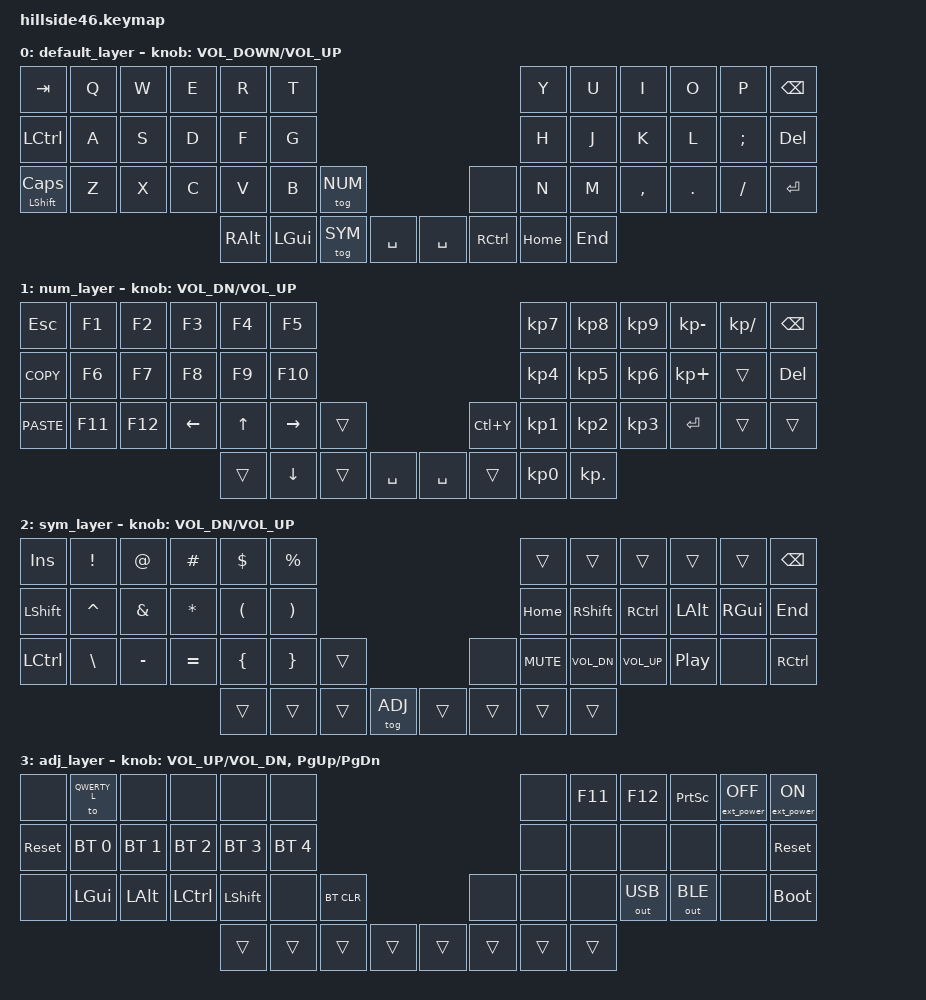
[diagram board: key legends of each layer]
/*
 * Copyright (c) 2021-2022 The ZMK Contributors
 *
 * SPDX-License-Identifier: MIT
 */

#include <behaviors.dtsi>
#include <dt-bindings/zmk/bt.h>
#include <dt-bindings/zmk/ext_power.h>
#include <dt-bindings/zmk/keys.h>
#include <dt-bindings/zmk/outputs.h>

#define QWERTY_L 0
#define NUM      1
#define SYM      2
#define ADJ      3

#define Undo   LC(Z)
#define Cut    LC(X)
#define Copy   LC(C)
#define Paste  LC(V)
#define Redo   LC(Y)


/ {
        keymap {
                compatible = "zmk,keymap";

                default_layer {
/* QWERTY
 * -------------------------------------------------------------------------------------------------------------------------------------
 * |  TAB  |   Q   |   W   |   E   |   R   |   T   |-----------------------------------|   Y   |   U   |   I   |   O   |   P   | BKSPC |
 * |  CTRL |   A   |   S   |   D   |   F   |   G   |-----------------------------------|   H   |   J   |   K   |   L   |   ;   |  DEL  |
 * |  SHFT |   Z   |   X   |   C   |   V   |   B   |  NUM  |-------------------| KNOB  |   N   |   M   |   ,   |   .   |   /   | ENTER |
 *                                 |  ALT  |   OS  |  SYM  |  SPC  |---|  SPC  | RCTRL | HOME  |  END  |
 */
                        bindings = <
&kp  TAB         &kp  Q        &kp  W        &kp  E        &kp  R        &kp  T                                                                         &kp  Y        &kp  U        &kp  I        &kp  O        &kp  P        &kp  BSPC
&kp  LCTRL       &kp  A        &kp  S        &kp  D        &kp  F        &kp  G                                                                         &kp  H        &kp  J        &kp  K        &kp  L        &kp  SEMI     &kp  DEL  
&mt  LSHFT CAPS  &kp  Z        &kp  X        &kp  C        &kp  V        &kp  B        &tog  NUM                                          &none         &kp  N        &kp  M        &kp  COMMA    &kp  DOT      &kp  SLASH    &kp  ENTER
                                                        &kp  RALT     &kp  LGUI     &tog  SYM     &kp  SPACE                   &kp  SPACE    &kp  RCTRL    &kp  HOME     &kp  END
                        >;
			
                        sensor-bindings = <&inc_dec_kp K_VOLUME_DOWN K_VOLUME_UP>;
                };
		
                num_layer {
/* NUM   
 * -------------------------------------------------------------------------------------------------------------------------------------
 * | ESC   |  F1   |   F2  |  F3   |  F4   |  F5   |-----------------------------------|   7   |   8   |   9   |   -   |   /   | BSPC  |
 * | COPY  |  F6   |   F7  |  F8   |  F9   |  F10  |-----------------------------------|   4   |   5   |   6   |   +   |       | DEL   |
 * | PASTE |  F11  |  F12  |  <-   |   ^   |  ->   |       |-------------------| Knob  |   1   |   2   |   3   | ENTER |       |       |
 *                                 |       |   V   |       | SPACE |---| SPACE |       |   0   |   .   |
 */
                        bindings = <
&kp  ESC      &kp  F1       &kp  F2       &kp  F3       &kp  F4       &kp  F5                                                                        &kp  KP_N7    &kp  KP_N8    &kp  KP_N9    &kp  KP_MINUS  &kp  KP_SLASH   &kp BSPC
&kp  K_COPY   &kp  F6       &kp  F7       &kp  F8       &kp  F9       &kp  F10                                                                       &kp  KP_N4    &kp  KP_N5    &kp  KP_N6    &kp  KP_PLUS   &trans          &kp DEL
&kp  K_PASTE  &kp  F11      &kp  F12      &kp  LEFT     &kp  UP       &kp  RIGHT    &trans                                             &kp  Redo     &kp  KP_N1    &kp  KP_N2    &kp  KP_N3    &kp  RETURN    &trans          &trans
                                                        &trans        &kp  DOWN     &trans        &kp SPACE              &kp SPACE     &trans        &kp  KP_N0    &kp  KP_DOT 
                        >;
			
                        sensor-bindings = <&inc_dec_kp C_VOL_DN C_VOL_UP>;
                };

                sym_layer {
/* SYM
 * -------------------------------------------------------------------------------------------------------------------------------------
 * | INS   |   !   |   @   |   #   |   $   |   %   |-----------------------------------|       |       |       |       |       | BSPC  |
 * | SHIFT |   ^   |   &   |   *   |   (   |   )   |-----------------------------------| HOME  | Shift | Ctrl  | Alt   | Gui   | END   |
 * | CTRL  |   \   |   -   |   =   |   {   |   }   |       |-------------------|  Knob | Mute  | Vol-  | Vol+  | Play  | Pause | Ctrl  |
 *                                 |       |       |       |   ADJ  |---|      |       |       |       |
 */
                        bindings = <
&kp  INS      &kp  EXCL     &kp  AT       &kp  HASH     &kp  DOLLAR   &kp  PERCENT                                                                   &trans        &trans        &trans        &trans        &trans        &kp BSPC
&kp  LSHFT    &kp  CARET    &kp  AMPS     &kp  STAR     &kp  LPAR     &kp  RPAR                                                                      &kp  HOME     &kp  RSHFT    &kp  RCTRL    &kp  LALT     &kp  RGUI     &kp END
&kp  LCTRL    &kp  BSLH     &kp  MINUS    &kp  EQUAL    &kp  LBRC     &kp  RBRC     &trans                                             &none         &kp  C_MUTE   &kp  C_VOL_DN &kp  C_VOL_UP &kp  C_PP     &none         &kp RCTRL
                                                        &trans        &trans        &trans       &tog ADJ                 &trans       &trans        &trans        &trans
                        >;
			
                        sensor-bindings = <&inc_dec_kp C_VOL_DN C_VOL_UP>;
                };
		
                adj_layer {
/* ADJUST
 * -------------------------------------------------------------------------------------------------------------------------------------
 * |       | QWERTY| DVORAK| COLEMK|       |       |-----------------------------------|       |  F11  |  F12  |Prt Scr|EP_OFF | EP_ON |
 * | RESET | BT 0  | BT 1  | BT 2  | BT 3  | BT 4  |-----------------------------------|       |       |       |       |       | RESET |
 * |       | LGUI  | LALT  | LCTRL | LSHIFT|       |BT CLR |-------------------|       |       |       |OUT_USB|OUT_BLE|       | BOOTL |
 *                                 |       |       |       |       |---|       |       |       |       |
 */
                        bindings = <
&none         &to  QWERTY_L &none         &none         &none         &none                                                                             &none             &kp   F11          &kp   F12  &kp PRINTSCREEN   &ext_power EP_OFF  &ext_power EP_ON
&sys_reset    &bt  BT_SEL 0 &bt  BT_SEL 1 &bt  BT_SEL 2 &bt  BT_SEL 3 &bt  BT_SEL 4                                                                     &none             &none              &none            &none          &none           &sys_reset
&none         &kp  LGUI     &kp  LALT     &kp  LCTRL    &kp LSHIFT    &none         &bt BT_CLR                                         &none            &none             &none              &out  OUT_USB    &out  OUT_BLE  &none           &bootloader
                                                        &trans        &trans        &trans        &trans                 &trans        &trans           &trans            &trans 
                        >;
			
                        sensor-bindings = <&inc_dec_kp C_VOL_UP C_VOL_DN &inc_dec_kp PG_UP PG_DN>;
                };
        };
};
